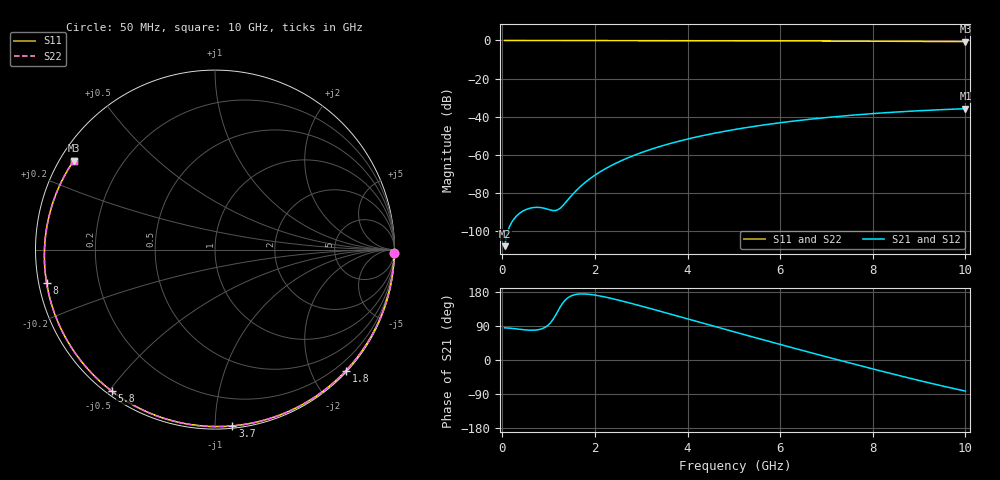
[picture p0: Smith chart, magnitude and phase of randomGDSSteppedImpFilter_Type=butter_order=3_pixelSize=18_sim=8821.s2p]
! freq	dB(S11)	phase(S11)	dB(S12)	phase(S12)
!  dB(S21)	phase(S21)	dB(S22)	phase(S22)
!S-par simulation data
#  GHz  S  DB  R 50
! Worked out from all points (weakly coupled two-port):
!   200 points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, 50 MHz to 10 GHz, reference 50 ohm
!   highest |S21| = -35.72 dB at 10 GHz (marker M1); lowest = -107.7 dB at 50 MHz (marker M2)
!   lowest |S11| = -0.6 dB at 10 GHz (marker M3), VSWR 27.66, Z = 1.96 + j14.4 ohm
!   |S11| at or under -10 dB: nowhere
!   |S22| runs from -0.6 to 0.0 dB; largest |S21 - S12| = 0
!   S11 on the Smith chart (normalised r, x): 50 MHz: 3, -98; 1.8 GHz: 0.02, -2.56; 3.7 GHz: 0.01, -1.10; 5.8 GHz: 0.02, -0.51; 8 GHz: 0.02, -0.10; 10 GHz: 0.04, +0.29
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0.05  -0.01 -1.2  -107.70 85.0  -107.70 85.0  -0.01 -1.2
0.75  -0.02 -18.0  -87.38 79.4  -87.38 79.4  -0.02 -18.0
1.5  -0.05 -35.8  -81.07 169.8  -81.07 169.8  -0.05 -35.8
1.55  -0.05 -36.9  -79.75 171.9  -79.75 171.9  -0.05 -36.9
1.75  -0.05 -41.6  -75.12 174.4  -75.12 174.4  -0.05 -41.6
1.8  -0.05 -42.7  -74.12 174.1  -74.12 174.1  -0.05 -42.7
2.1  -0.06 -49.6  -68.97 169.1  -68.97 169.1  -0.06 -49.6
2.5  -0.07 -58.5  -63.74 158.3  -63.74 158.3  -0.07 -58.5
2.9  -0.09 -67.3  -59.64 145.7  -59.64 145.7  -0.09 -67.3
3.4  -0.10 -78.1  -55.54 129.0  -55.54 129.0  -0.10 -78.1
3.7  -0.11 -84.4  -53.47 118.8  -53.47 118.8  -0.11 -84.4
4.35  -0.14 -97.7  -49.71 96.6  -49.71 96.6  -0.14 -97.7
5.05  -0.17 -111.6  -46.50 72.8  -46.50 72.8  -0.17 -111.6
5.8  -0.21 -126.2  -43.73 47.7  -43.73 47.7  -0.21 -126.2
6.7  -0.27 -143.4  -41.10 18.1  -41.10 18.1  -0.27 -143.4
7.35  -0.32 -156.0  -39.56 -2.9  -39.56 -2.9  -0.32 -156.0
8  -0.39 -168.7  -38.30 -23.5  -38.30 -23.5  -0.39 -168.7
8.35  -0.42 -175.8  -37.71 -34.4  -37.71 -34.4  -0.42 -175.8
8.8  -0.47 174.8  -37.06 -48.1  -37.06 -48.1  -0.47 174.8
9.2  -0.52 166.2  -36.56 -59.9  -36.56 -59.9  -0.52 166.2
9.6  -0.57 157.2  -36.11 -71.2  -36.11 -71.2  -0.57 157.2
10  -0.63 147.8  -35.72 -82.1  -35.72 -82.1  -0.63 147.8
